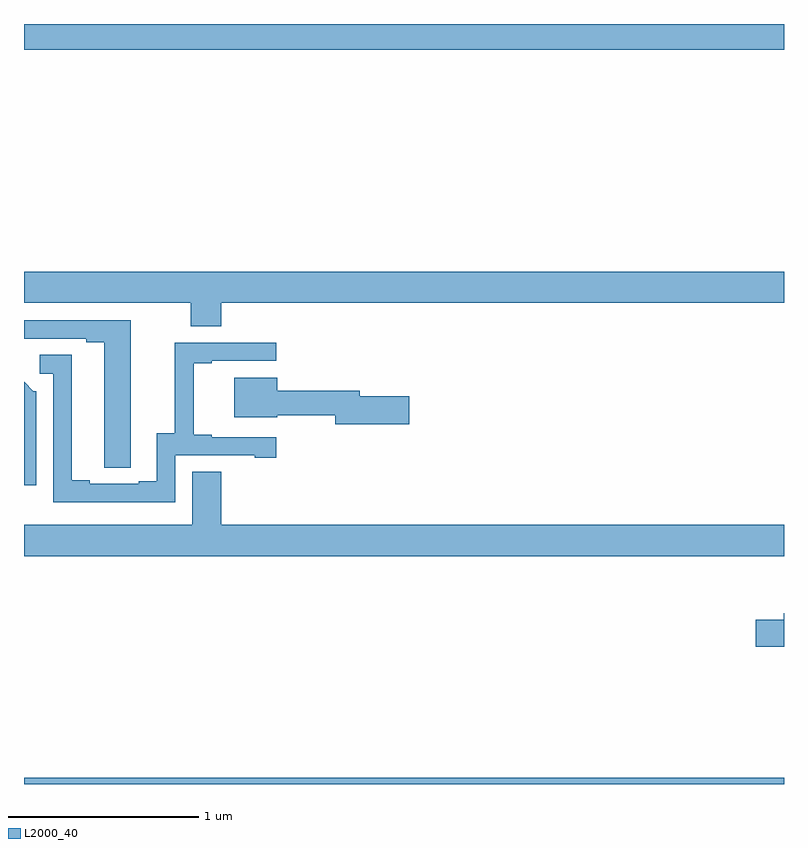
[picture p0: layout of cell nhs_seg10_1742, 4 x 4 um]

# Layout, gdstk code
import gdstk
lib = gdstk.Library(unit=1e-6, precision=1e-09)
def R(c, l, rs):  # rectangles x0, y0, x1, y1
    for r in rs: c.add(gdstk.rectangle(r[:2], r[2:], *l))
def P(c, l, *ps):  # polygons
    for p in ps: c.add(gdstk.Polygon(p, *l))
L2000_40 = (2000, 40)

nhs_seg10_1742 = lib.new_cell('nhs_seg10_1742')
R(nhs_seg10_1742, L2000_40, [(203,1248.5,207,1248.532), (203,1252.364,207,1252.5)])
P(nhs_seg10_1742, L2000_40, [(204.038,1251.032),(207,1251.032),(207,1251.196),(203,1251.196),(203,1251.032),(203.878,1251.032),(203.878,1250.908),(204.038,1250.908)],
  [(203.562,1250.272),(203.563,1250.272),(203.563,1250.94),(203,1250.94),(203,1250.844),(203.327,1250.844),(203.327,1250.824),(203.423,1250.824),(203.423,1250.164),(203.562,1250.164)],
  [(203.796,1250.229),(204.215,1250.229),(204.215,1250.217),(204.328,1250.217),(204.328,1250.325),(203.989,1250.325),(203.989,1250.338),(203.894,1250.338),(203.894,1250.715),(203.989,1250.715),(203.989,1250.727),(204.328,1250.727),(204.328,1250.823),(203.794,1250.823),(203.794,1250.345),(203.699,1250.345),(203.699,1250.094),(203.603,1250.094),(203.603,1250.079),(203.347,1250.079),(203.347,1250.099),(203.251,1250.099),(203.251,1250.759),(203.082,1250.759),(203.082,1250.658),(203.154,1250.658),(203.154,1249.983),(203.796,1249.983)],
  [(205.027,1250.54),(204.766,1250.54),(204.766,1250.569),(204.334,1250.569),(204.334,1250.638),(204.107,1250.638),(204.107,1250.429),(204.334,1250.429),(204.334,1250.44),(204.638,1250.44),(204.638,1250.393),(205.027,1250.393)],
  [(203.064,1250.568),(203.049,1250.568),(203,1250.617),(203,1250.072),(203.064,1250.072)],
  [(207,1249.864),(204.038,1249.864),(204.038,1250.144),(203.885,1250.144),(203.885,1249.864),(203,1249.864),(203,1249.7),(207,1249.7)],
  [(207,1249.399),(206.999,1249.399),(206.999,1249.365),(206.85,1249.365),(206.85,1249.223),(207,1249.223)])

lib.write_gds('nhs_seg10_1742.gds')
